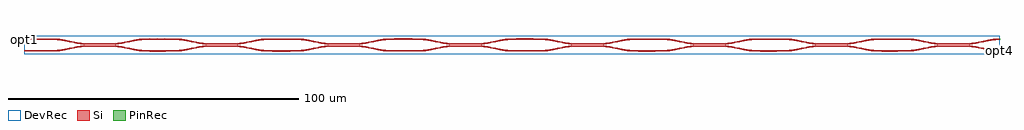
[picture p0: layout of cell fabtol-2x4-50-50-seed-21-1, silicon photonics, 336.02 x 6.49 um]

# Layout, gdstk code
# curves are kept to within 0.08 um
import gdstk
lib = gdstk.Library(unit=1e-6, precision=1e-09)
def R(c, l, rs):  # rectangles x0, y0, x1, y1
    for r in rs: c.add(gdstk.rectangle(r[:2], r[2:], *l))
def P(c, l, *ps):  # polygons
    for p in ps: c.add(gdstk.Polygon(p, *l))
Si = (1, 0)
PinRec = (1, 10)
DevRec = (68, 0)

layer_3_0_phase_sec_3_8 = lib.new_cell('layer-3_0_phase_sec_3$8')
P(layer_3_0_phase_sec_3_8, Si, [(2.715,-0.243),(0,-0.225),(0,0.225),(10,0.225),(10,-0.225)])

layer_3_0_phase_sec_2_8 = lib.new_cell('layer-3_0_phase_sec_2$8')
P(layer_3_0_phase_sec_2_8, Si, [(1.227,-0.237),(0,-0.225),(0,0.225),(10,0.225),(10,-0.225)])

layer_3_0_phase_sec_1_8 = lib.new_cell('layer-3_0_phase_sec_1$8')
P(layer_3_0_phase_sec_1_8, Si, [(1.437,-0.243),(0,-0.225),(0,0.225),(10,0.225),(10,-0.225)])

layer_0_0_phase_sec_0_8 = lib.new_cell('layer-0_0_phase_sec_0$8')
P(layer_0_0_phase_sec_0_8, Si, [(4.409,-0.229),(0,-0.225),(0,0.225),(10,0.225),(10,-0.225)])

layer_3_0_phase_sec_0_8 = lib.new_cell('layer-3_0_phase_sec_0$8')
P(layer_3_0_phase_sec_0_8, Si, [(1.197,-0.237),(0,-0.225),(0,0.225),(10,0.225),(10,-0.225)])

dc_arm_down_8 = lib.new_cell('dc_arm_down$8')
R(dc_arm_down_8, Si, [(12,-0.55,20,-0.1)])
P(dc_arm_down_8, Si, [(32,-2.225),(30.861,-2.188),(29.344,-2.033),(22.966,-0.793),(21.481,-0.613),(20,-0.55),(20,-0.1),(21.139,-0.137),(22.656,-0.292),(29.034,-1.532),(30.519,-1.712),(32,-1.775)],
  [(0,-2.225),(0,-1.775),(1.481,-1.712),(2.966,-1.532),(9.344,-0.292),(10.861,-0.137),(12,-0.1),(12,-0.55),(10.519,-0.613),(9.034,-0.793),(2.656,-2.033),(1.139,-2.188)])

dc_arm_up_8 = lib.new_cell('dc_arm_up$8')
R(dc_arm_up_8, Si, [(12,0.1,20,0.55)])
P(dc_arm_up_8, Si, [(20,0.1),(20,0.55),(21.481,0.613),(22.966,0.793),(29.344,2.033),(30.861,2.188),(32,2.225),(32,1.775),(30.519,1.712),(29.034,1.532),(22.656,0.292),(21.139,0.137)],
  [(12,0.1),(10.861,0.137),(9.344,0.292),(2.966,1.532),(1.481,1.712),(0,1.775),(0,2.225),(1.139,2.188),(2.656,2.033),(9.034,0.793),(10.519,0.613),(12,0.55)])

dc_8 = lib.new_cell('dc$8')
dc_8.add(gdstk.Reference(dc_arm_down_8, (0,0)))
dc_8.add(gdstk.Reference(dc_arm_up_8, (0,0)))

layer_2_0_phase_sec_3_8 = lib.new_cell('layer-2_0_phase_sec_3$8')
P(layer_2_0_phase_sec_3_8, Si, [(4.372,-0.247),(0,-0.225),(0,0.225),(10,0.225),(10,-0.225)])

layer_1_0_phase_sec_0_8 = lib.new_cell('layer-1_0_phase_sec_0$8')
P(layer_1_0_phase_sec_0_8, Si, [(6.844,-0.235),(0,-0.225),(0,0.225),(10,0.225),(10,-0.225)])

layer_1_0_phase_sec_1_8 = lib.new_cell('layer-1_0_phase_sec_1$8')
P(layer_1_0_phase_sec_1_8, Si, [(4.617,-0.242),(0,-0.225),(0,0.225),(10,0.225),(10,-0.225)])

layer_0_0_phase_sec_3_8 = lib.new_cell('layer-0_0_phase_sec_3$8')
P(layer_0_0_phase_sec_3_8, Si, [(1.363,-0.238),(0,-0.225),(0,0.225),(10,0.225),(10,-0.225)])

layer_1_0_phase_sec_2_8 = lib.new_cell('layer-1_0_phase_sec_2$8')
P(layer_1_0_phase_sec_2_8, Si, [(4.587,-0.243),(0,-0.225),(0,0.225),(10,0.225),(10,-0.225)])

layer_0_0_phase_sec_1_8 = lib.new_cell('layer-0_0_phase_sec_1$8')
P(layer_0_0_phase_sec_1_8, Si, [(4.755,-0.228),(0,-0.225),(0,0.225),(10,0.225),(10,-0.225)])

layer_1_0_phase_sec_3_8 = lib.new_cell('layer-1_0_phase_sec_3$8')
P(layer_1_0_phase_sec_3_8, Si, [(4.274,-0.235),(0,-0.225),(0,0.225),(10,0.225),(10,-0.225)])

layer_2_0_phase_sec_0_8 = lib.new_cell('layer-2_0_phase_sec_0$8')
P(layer_2_0_phase_sec_0_8, Si, [(2.923,-0.247),(0,-0.225),(0,0.225),(10,0.225),(10,-0.225)])

layer_0_0_phase_sec_2_8 = lib.new_cell('layer-0_0_phase_sec_2$8')
P(layer_0_0_phase_sec_2_8, Si, [(1.278,-0.239),(0,-0.225),(0,0.225),(10,0.225),(10,-0.225)])

layer_2_0_phase_sec_1_8 = lib.new_cell('layer-2_0_phase_sec_1$8')
P(layer_2_0_phase_sec_1_8, Si, [(4.5,-0.233),(0,-0.225),(0,0.225),(10,0.225),(10,-0.225)])

layer_2_0_phase_sec_2_8 = lib.new_cell('layer-2_0_phase_sec_2$8')
P(layer_2_0_phase_sec_2_8, Si, [(3.384,-0.232),(0,-0.225),(0,0.225),(10,0.225),(10,-0.225)])

fabtol_2x4_50_50_seed_21 = lib.new_cell('fabtol-2x4-50-50-seed-21-1')
R(fabtol_2x4_50_50_seed_21, DevRec, [(0,-1,336,5.494)])
fabtol_2x4_50_50_seed_21.add(gdstk.FlexPath([(335.99,0.247),(336.01,0.247)], 0.45, ends="flush", simple_path=True, layer=1, datatype=10))  # PinRec
fabtol_2x4_50_50_seed_21.add(gdstk.FlexPath([(335.99,4.247),(336.01,4.247)], 0.45, ends="flush", simple_path=True, layer=1, datatype=10))  # PinRec
fabtol_2x4_50_50_seed_21.add(gdstk.FlexPath([(0.01,4.247),(-0.01,4.247)], 0.45, ends="flush", simple_path=True, layer=1, datatype=10))  # PinRec
fabtol_2x4_50_50_seed_21.add(gdstk.Reference(layer_3_0_phase_sec_3_8, (294,0.247)))
fabtol_2x4_50_50_seed_21.add(gdstk.Reference(layer_3_0_phase_sec_2_8, (294,4.247)))
fabtol_2x4_50_50_seed_21.add(gdstk.Reference(layer_3_0_phase_sec_1_8, (252,0.247)))
fabtol_2x4_50_50_seed_21.add(gdstk.Reference(layer_0_0_phase_sec_0_8, (0,4.247)))
fabtol_2x4_50_50_seed_21.add(gdstk.Reference(layer_3_0_phase_sec_0_8, (252,4.247)))
fabtol_2x4_50_50_seed_21.add(gdstk.Reference(dc_8, (10,2.247)))
fabtol_2x4_50_50_seed_21.add(gdstk.Reference(dc_8, (52,2.247)))
fabtol_2x4_50_50_seed_21.add(gdstk.Reference(dc_8, (94,2.247)))
fabtol_2x4_50_50_seed_21.add(gdstk.Reference(dc_8, (136,2.247)))
fabtol_2x4_50_50_seed_21.add(gdstk.Reference(dc_8, (178,2.247)))
fabtol_2x4_50_50_seed_21.add(gdstk.Reference(dc_8, (220,2.247)))
fabtol_2x4_50_50_seed_21.add(gdstk.Reference(dc_8, (262,2.247)))
fabtol_2x4_50_50_seed_21.add(gdstk.Reference(dc_8, (304,2.247)))
fabtol_2x4_50_50_seed_21.add(gdstk.Reference(layer_2_0_phase_sec_3_8, (210,0.247)))
fabtol_2x4_50_50_seed_21.add(gdstk.Reference(layer_1_0_phase_sec_0_8, (84,4.247)))
fabtol_2x4_50_50_seed_21.add(gdstk.Reference(layer_1_0_phase_sec_1_8, (84,0.247)))
fabtol_2x4_50_50_seed_21.add(gdstk.Reference(layer_0_0_phase_sec_3_8, (42,0.247)))
fabtol_2x4_50_50_seed_21.add(gdstk.Reference(layer_1_0_phase_sec_2_8, (126,4.247)))
fabtol_2x4_50_50_seed_21.add(gdstk.Reference(layer_0_0_phase_sec_1_8, (0,0.247)))
fabtol_2x4_50_50_seed_21.add(gdstk.Reference(layer_1_0_phase_sec_3_8, (126,0.247)))
fabtol_2x4_50_50_seed_21.add(gdstk.Reference(layer_2_0_phase_sec_0_8, (168,4.247)))
fabtol_2x4_50_50_seed_21.add(gdstk.Reference(layer_0_0_phase_sec_2_8, (42,4.247)))
fabtol_2x4_50_50_seed_21.add(gdstk.Reference(layer_2_0_phase_sec_1_8, (168,0.247)))
fabtol_2x4_50_50_seed_21.add(gdstk.Reference(layer_2_0_phase_sec_2_8, (210,4.247)))
fabtol_2x4_50_50_seed_21.add(gdstk.Label('opt4', (336,0.247), layer=1, texttype=10))
fabtol_2x4_50_50_seed_21.add(gdstk.Label('opt3', (336,4.247), layer=1, texttype=10))
fabtol_2x4_50_50_seed_21.add(gdstk.Label('opt1', (0,4.247), layer=1, texttype=10))

lib.write_gds('fabtol-2x4-50-50-seed-21-1.gds')
